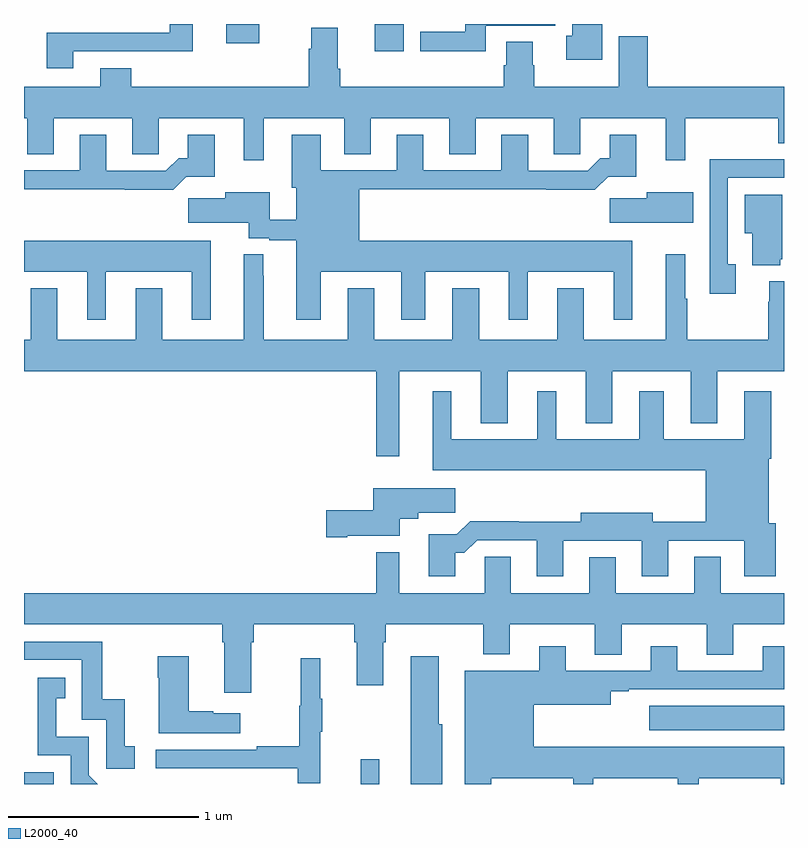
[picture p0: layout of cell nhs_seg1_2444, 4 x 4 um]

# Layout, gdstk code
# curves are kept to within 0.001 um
import gdstk
lib = gdstk.Library(unit=1e-6, precision=1e-09)
def R(c, l, rs):  # rectangles x0, y0, x1, y1
    for r in rs: c.add(gdstk.rectangle(r[:2], r[2:], *l))
def P(c, l, *ps):  # polygons
    for p in ps: c.add(gdstk.Polygon(p, *l))
L2000_40 = (2000, 40)

nhs_seg1_2444 = lib.new_cell('nhs_seg1_2444')
R(nhs_seg1_2444, L2000_40, [(243,576.199,243.156,576.261), (244.773,576.199,244.87,576.328), (246.291,576.482,247,576.61), (244.847,580.056,244.998,580.199), (244.065,580.098,244.237,580.199)])
P(nhs_seg1_2444, L2000_40, [(246.043,580.199),(245.885,580.199),(245.885,580.136),(245.855,580.136),(245.855,580.01),(246.043,580.01)],
  [(243.259,580.056),(243.671,580.056),(243.671,580.055),(243.889,580.055),(243.889,580.199),(243.768,580.199),(243.768,580.152),(243.119,580.152),(243.119,579.966),(243.259,579.966)],
  [(245.43,580.191),(245.796,580.191),(245.796,580.199),(245.322,580.199),(245.322,580.157),(245.085,580.157),(245.085,580.055),(245.43,580.055)],
  [(244.261,579.704),(244.685,579.704),(244.685,579.514),(244.825,579.514),(244.825,579.704),(245.237,579.704),(245.237,579.514),(245.377,579.514),(245.377,579.704),(245.789,579.704),(245.789,579.514),(245.928,579.514),(245.928,579.704),(246.377,579.704),(246.377,579.483),(246.481,579.483),(246.481,579.704),(246.97,579.704),(246.97,579.571),(247,579.571),(247,579.868),(246.284,579.868),(246.284,580.135),(246.131,580.135),(246.131,579.868),(245.685,579.868),(245.685,579.981),(245.677,579.981),(245.677,580.106),(245.537,580.106),(245.537,579.981),(245.525,579.981),(245.525,579.868),(244.664,579.868),(244.664,579.964),(244.651,579.964),(244.651,580.178),(244.511,580.178),(244.511,580.07),(244.499,580.07),(244.499,579.868),(243.565,579.868),(243.565,579.967),(243.401,579.967),(243.401,579.868),(243,579.868),(243,579.704),(243.017,579.704),(243.017,579.514),(243.157,579.514),(243.157,579.704),(243.569,579.704),(243.569,579.514),(243.708,579.514),(243.708,579.704),(244.157,579.704),(244.157,579.483),(244.261,579.483)],
  [(244.561,578.894),(244.985,578.894),(244.985,578.643),(245.113,578.643),(245.113,578.894),(245.552,578.894),(245.552,578.643),(245.65,578.643),(245.65,578.894),(246.104,578.894),(246.104,578.643),(246.202,578.643),(246.202,579.058),(244.765,579.058),(244.765,579.328),(245.749,579.328),(245.749,579.326),(246.005,579.326),(246.074,579.395),(246.223,579.395),(246.223,579.616),(246.083,579.616),(246.083,579.493),(246.034,579.493),(245.967,579.426),(245.653,579.426),(245.653,579.616),(245.513,579.616),(245.513,579.429),(245.101,579.429),(245.101,579.616),(244.961,579.616),(244.961,579.429),(244.561,579.429),(244.561,579.616),(244.409,579.616),(244.409,579.336),(244.433,579.336),(244.433,579.169),(244.294,579.169),(244.294,579.313),(244.058,579.313),(244.058,579.281),(243.864,579.281),(243.864,579.152),(244.184,579.152),(244.184,579.072),(244.29,579.072),(244.29,579.061),(244.433,579.061),(244.433,578.643),(244.561,578.643)],
  [(243.854,579.395),(244.003,579.395),(244.003,579.616),(243.863,579.616),(243.863,579.493),(243.814,579.493),(243.747,579.426),(243.433,579.426),(243.433,579.616),(243.293,579.616),(243.293,579.429),(243,579.429),(243,579.328),(243.529,579.328),(243.529,579.326),(243.785,579.326)],
  [(246.745,578.934),(246.705,578.934),(246.705,579.39),(247,579.39),(247,579.486),(246.881,579.486),(246.881,579.488),(246.609,579.488),(246.609,578.778),(246.745,578.778)],
  [(246.523,579.313),(246.278,579.313),(246.278,579.281),(246.084,579.281),(246.084,579.152),(246.523,579.152)],
  [(246.98,578.961),(246.991,578.961),(246.991,579.301),(246.794,579.301),(246.794,579.098),(246.833,579.098),(246.833,578.93),(246.98,578.93)],
  [(243.43,578.894),(243.884,578.894),(243.884,578.643),(243.982,578.643),(243.982,579.058),(243,579.058),(243,578.894),(243.332,578.894),(243.332,578.643),(243.43,578.643)],
  [(244.975,578.372),(245.405,578.372),(245.405,578.099),(245.545,578.099),(245.545,578.372),(245.957,578.372),(245.957,578.099),(246.097,578.099),(246.097,578.372),(246.509,578.372),(246.509,578.099),(246.649,578.099),(246.649,578.372),(247,578.372),(247,578.845),(246.923,578.845),(246.923,578.738),(246.916,578.738),(246.916,578.536),(246.491,578.536),(246.491,578.753),(246.481,578.753),(246.481,578.986),(246.377,578.986),(246.377,578.536),(245.947,578.536),(245.947,578.809),(245.807,578.809),(245.807,578.536),(245.395,578.536),(245.395,578.809),(245.255,578.809),(245.255,578.536),(244.843,578.536),(244.843,578.809),(244.703,578.809),(244.703,578.536),(244.261,578.536),(244.261,578.873),(244.26,578.873),(244.26,578.986),(244.157,578.986),(244.157,578.536),(243.727,578.536),(243.727,578.809),(243.587,578.809),(243.587,578.536),(243.175,578.536),(243.175,578.809),(243.035,578.809),(243.035,578.536),(243,578.536),(243,578.372),(244.854,578.372),(244.854,577.923),(244.975,577.923)],
  [(245.269,577.415),(245.318,577.415),(245.385,577.482),(245.699,577.482),(245.699,577.293),(245.839,577.293),(245.839,577.479),(246.251,577.478),(246.251,577.293),(246.391,577.293),(246.391,577.479),(246.791,577.479),(246.791,577.293),(246.956,577.293),(246.956,577.572),(246.919,577.572),(246.919,577.91),(246.932,577.91),(246.932,578.266),(246.791,578.266),(246.791,578.014),(246.367,578.014),(246.367,578.266),(246.239,578.266),(246.239,578.014),(245.8,578.014),(245.8,578.266),(245.702,578.266),(245.702,578.014),(245.248,578.014),(245.248,578.266),(245.15,578.266),(245.15,577.85),(246.587,577.85),(246.587,577.58),(246.31,577.58),(246.31,577.627),(245.93,577.627),(245.93,577.58),(245.603,577.58),(245.603,577.583),(245.348,577.583),(245.278,577.513),(245.129,577.513),(245.129,577.293),(245.269,577.293)],
  [(244.702,577.505),(244.978,577.505),(244.978,577.595),(245.074,577.595),(245.074,577.627),(245.269,577.627),(245.269,577.756),(244.838,577.756),(244.838,577.64),(244.59,577.64),(244.59,577.498),(244.702,577.498)],
  [(244.195,576.944),(244.208,576.944),(244.208,577.04),(244.739,577.04),(244.739,576.944),(244.751,576.944),(244.751,576.72),(244.891,576.72),(244.891,576.944),(244.904,576.944),(244.904,577.04),(245.417,577.04),(245.417,576.881),(245.557,576.881),(245.557,577.04),(246.005,577.04),(246.005,576.88),(246.145,576.88),(246.145,577.04),(246.593,577.04),(246.593,576.88),(246.733,576.88),(246.733,577.04),(247,577.04),(247,577.204),(246.667,577.204),(246.667,577.394),(246.527,577.394),(246.527,577.204),(246.115,577.204),(246.115,577.393),(245.975,577.393),(245.975,577.204),(245.563,577.204),(245.563,577.394),(245.424,577.394),(245.424,577.204),(244.975,577.204),(244.975,577.42),(244.854,577.42),(244.854,577.204),(243,577.204),(243,577.04),(244.043,577.04),(244.043,576.944),(244.055,576.944),(244.055,576.678),(244.195,576.678)],
  [(243.583,576.399),(243.53,576.399),(243.53,576.646),(243.412,576.646),(243.412,576.948),(243,576.948),(243,576.852),(243.303,576.852),(243.303,576.537),(243.432,576.537),(243.432,576.279),(243.583,576.279)],
  [(245.458,576.23),(245.891,576.23),(245.891,576.199),(245.995,576.199),(245.995,576.23),(246.44,576.23),(246.44,576.199),(246.55,576.199),(246.55,576.23),(246.983,576.23),(246.983,576.199),(247,576.199),(247,576.394),(245.683,576.394),(245.683,576.617),(246.088,576.617),(246.088,576.687),(246.184,576.687),(246.184,576.699),(247,576.699),(247,576.925),(246.887,576.925),(246.887,576.795),(246.439,576.795),(246.439,576.925),(246.299,576.925),(246.299,576.795),(245.851,576.795),(245.851,576.925),(245.711,576.925),(245.711,576.796),(245.321,576.796),(245.321,576.199),(245.458,576.199)],
  [(244.138,576.571),(243.995,576.571),(243.995,576.581),(243.868,576.581),(243.868,576.871),(243.703,576.871),(243.703,576.758),(243.71,576.758),(243.71,576.467),(244.138,576.467)],
  [(245.2,576.513),(245.182,576.513),(245.182,576.871),(245.036,576.871),(245.036,576.199),(245.2,576.199)],
  [(244.559,576.475),(244.57,576.475),(244.57,576.649),(244.559,576.649),(244.559,576.862),(244.456,576.862),(244.456,576.612),(244.449,576.612),(244.449,576.398),(244.225,576.398),(244.225,576.378),(243.693,576.378),(243.693,576.282),(244.441,576.282),(244.441,576.204),(244.559,576.204)],
  [(243.342,576.246),(243.342,576.447),(243.169,576.447),(243.169,576.651),(243.218,576.651),(243.218,576.757),(243.072,576.757),(243.072,576.351),(243.246,576.351),(243.246,576.199),(243.389,576.199)])

lib.write_gds('nhs_seg1_2444.gds')
